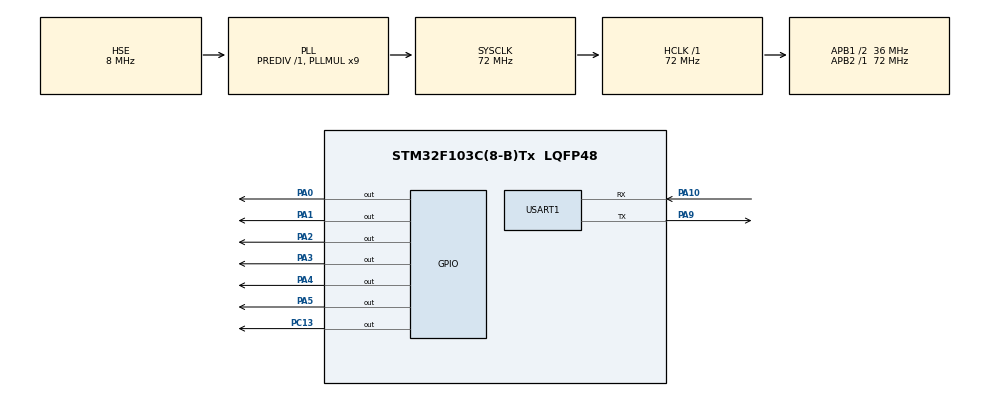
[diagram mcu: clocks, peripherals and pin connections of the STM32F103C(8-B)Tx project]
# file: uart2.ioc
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Mcu.Family=STM32F1
Mcu.Name=STM32F103C(8-B)Tx
Mcu.Package=LQFP48
NVIC.PriorityGroup=NVIC_PRIORITYGROUP_4
NVIC.USART1_IRQn=true\:1\:0\:true\:false\:true\:true\:true\:true
PA0-WKUP.Signal=GPIO_Output
PA1.Signal=GPIO_Output
PA10.Mode=Asynchronous
PA10.Signal=USART1_RX
PA13.Mode=Serial_Wire
PA13.Signal=SYS_JTMS-SWDIO
PA14.Mode=Serial_Wire
PA14.Signal=SYS_JTCK-SWCLK
PA2.Signal=GPIO_Output
PA3.Signal=GPIO_Output
PA4.Signal=GPIO_Output
PA5.Signal=GPIO_Output
PA9.Mode=Asynchronous
PA9.Signal=USART1_TX
PC13-TAMPER-RTC.Signal=GPIO_Output
PD0-OSC_IN.Mode=HSE-External-Oscillator
PD0-OSC_IN.Signal=RCC_OSC_IN
PD1-OSC_OUT.Mode=HSE-External-Oscillator
PD1-OSC_OUT.Signal=RCC_OSC_OUT
ProjectManager.HeapSize=0x200
ProjectManager.StackSize=0x400
ProjectManager.TargetToolchain=MDK-ARM V5.32
RCC.AHBFreq_Value=72000000
RCC.APB1CLKDivider=RCC_HCLK_DIV2
RCC.APB1Freq_Value=36000000
RCC.APB1TimFreq_Value=72000000
RCC.APB2Freq_Value=72000000
RCC.APB2TimFreq_Value=72000000
RCC.HCLKFreq_Value=72000000
RCC.PLLMUL=RCC_PLL_MUL9
RCC.PLLSourceVirtual=RCC_PLLSOURCE_HSE
RCC.SYSCLKFreq_VALUE=72000000
RCC.SYSCLKSource=RCC_SYSCLKSOURCE_PLLCLK
RCC.USBFreq_Value=72000000
USART1.VirtualMode=VM_ASYNC
board=custom

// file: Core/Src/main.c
/* USER CODE BEGIN Header */
/**
  ******************************************************************************
  * @file           : main.c
  * @brief          : Main program body
  ******************************************************************************
  * @attention
  *
  * Copyright (c) 2024 STMicroelectronics.
  * All rights reserved.
  *
  * This software is licensed under terms that can be found in the LICENSE file
  * in the root directory of this software component.
  * If no LICENSE file comes with this software, it is provided AS-IS.
  *
  ******************************************************************************
  */
/* USER CODE END Header */
#include "main.h"

/* USER CODE BEGIN Includes */
#include "cmd_handle.h"
#include "string.h"
/* USER CODE END Includes */

UART_HandleTypeDef huart1;

void SystemClock_Config(void);
static void MX_GPIO_Init(void);
static void MX_USART1_UART_Init(void);

/* USER CODE BEGIN 0 */
#define CMD_ON "ledon"
#define CMD_OFF "ledoff"
//char buff[50] = "ledon:1,2,5;ledoff:0,3,4;";
char buff[50];
uint8_t uart_index = 0;
uint8_t uart_flag = 0;
char rx;
void HAL_UART_RxCpltCallback(UART_HandleTypeDef *huart)
{
	if (rx == '\n')
	{
		buff[uart_index] = '\0';
		uart_flag = 1;
	}
	else
	{
		buff[uart_index++] = rx;
	}
	HAL_UART_Receive_IT (&huart1 ,(uint8_t *)&rx, 1);
}

/* USER CODE END 0 */

int main(void)
{

  /* MCU Configuration--------------------------------------------------------*/

  /* Reset of all peripherals, Initializes the Flash interface and the Systick. */
  HAL_Init();

  /* Configure the system clock */
  SystemClock_Config();

  /* Initialize all configured peripherals */
  MX_GPIO_Init();
  MX_USART1_UART_Init();
  /* USER CODE BEGIN 2 */
	HAL_UART_Receive_IT (&huart1 ,(uint8_t *)&rx, 1);
  /* USER CODE END 2 */

  /* Infinite loop */
  while (1)
  {

    /* USER CODE BEGIN 3 */
		if (uart_flag == 1)
		{

			uart_index = 0;
			uart_flag = 0;
		}
  }
  /* USER CODE END 3 */
}

void SystemClock_Config(void)
{
  RCC_OscInitTypeDef RCC_OscInitStruct = {0};
  RCC_ClkInitTypeDef RCC_ClkInitStruct = {0};

  /** Initializes the RCC Oscillators according to the specified parameters
  * in the RCC_OscInitTypeDef structure.
  */
  RCC_OscInitStruct.OscillatorType = RCC_OSCILLATORTYPE_HSE;
  RCC_OscInitStruct.HSEState = RCC_HSE_ON;
  RCC_OscInitStruct.HSEPredivValue = RCC_HSE_PREDIV_DIV1;
  RCC_OscInitStruct.HSIState = RCC_HSI_ON;
  RCC_OscInitStruct.PLL.PLLState = RCC_PLL_ON;
  RCC_OscInitStruct.PLL.PLLSource = RCC_PLLSOURCE_HSE;
  RCC_OscInitStruct.PLL.PLLMUL = RCC_PLL_MUL9;
  if (HAL_RCC_OscConfig(&RCC_OscInitStruct) != HAL_OK)
  {
    Error_Handler();
  }

  /** Initializes the CPU, AHB and APB buses clocks
  */
  RCC_ClkInitStruct.ClockType = RCC_CLOCKTYPE_HCLK|RCC_CLOCKTYPE_SYSCLK
                              |RCC_CLOCKTYPE_PCLK1|RCC_CLOCKTYPE_PCLK2;
  RCC_ClkInitStruct.SYSCLKSource = RCC_SYSCLKSOURCE_PLLCLK;
  RCC_ClkInitStruct.AHBCLKDivider = RCC_SYSCLK_DIV1;
  RCC_ClkInitStruct.APB1CLKDivider = RCC_HCLK_DIV2;
  RCC_ClkInitStruct.APB2CLKDivider = RCC_HCLK_DIV1;

  if (HAL_RCC_ClockConfig(&RCC_ClkInitStruct, FLASH_LATENCY_2) != HAL_OK)
  {
    Error_Handler();
  }
}

static void MX_USART1_UART_Init(void)
{

  huart1.Instance = USART1;
  huart1.Init.BaudRate = 115200;
  huart1.Init.WordLength = UART_WORDLENGTH_8B;
  huart1.Init.StopBits = UART_STOPBITS_1;
  huart1.Init.Parity = UART_PARITY_NONE;
  huart1.Init.Mode = UART_MODE_TX_RX;
  huart1.Init.HwFlowCtl = UART_HWCONTROL_NONE;
  huart1.Init.OverSampling = UART_OVERSAMPLING_16;
  if (HAL_UART_Init(&huart1) != HAL_OK)
  {
    Error_Handler();
  }

}

static void MX_GPIO_Init(void)
{
  GPIO_InitTypeDef GPIO_InitStruct = {0};

  /* GPIO Ports Clock Enable */
  __HAL_RCC_GPIOC_CLK_ENABLE();
  __HAL_RCC_GPIOD_CLK_ENABLE();
  __HAL_RCC_GPIOA_CLK_ENABLE();

  /*Configure GPIO pin Output Level */
  HAL_GPIO_WritePin(GPIOC, GPIO_PIN_13, GPIO_PIN_RESET);

  /*Configure GPIO pin Output Level */
  HAL_GPIO_WritePin(GPIOA, GPIO_PIN_0|GPIO_PIN_1|GPIO_PIN_2|GPIO_PIN_3
                          |GPIO_PIN_4|GPIO_PIN_5, GPIO_PIN_RESET);

  /*Configure GPIO pin : PC13 */
  GPIO_InitStruct.Pin = GPIO_PIN_13;
  GPIO_InitStruct.Mode = GPIO_MODE_OUTPUT_PP;
  GPIO_InitStruct.Pull = GPIO_NOPULL;
  GPIO_InitStruct.Speed = GPIO_SPEED_FREQ_LOW;
  HAL_GPIO_Init(GPIOC, &GPIO_InitStruct);

  /*Configure GPIO pins : PA0 PA1 PA2 PA3
                           PA4 PA5 */
  GPIO_InitStruct.Pin = GPIO_PIN_0|GPIO_PIN_1|GPIO_PIN_2|GPIO_PIN_3
                          |GPIO_PIN_4|GPIO_PIN_5;
  GPIO_InitStruct.Mode = GPIO_MODE_OUTPUT_PP;
  GPIO_InitStruct.Pull = GPIO_NOPULL;
  GPIO_InitStruct.Speed = GPIO_SPEED_FREQ_LOW;
  HAL_GPIO_Init(GPIOA, &GPIO_InitStruct);

}

void Error_Handler(void)
{
  __disable_irq();
  while (1)
  {
  }
}
